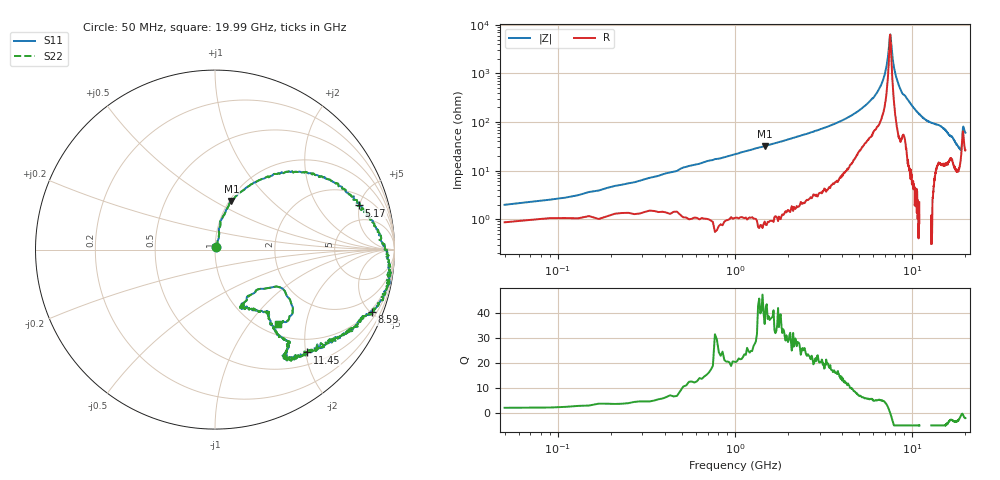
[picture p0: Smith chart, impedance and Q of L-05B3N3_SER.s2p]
! Data Taken on a HP 8720C VNA using a series-through fixture with TRL* de-embedding
#	mhz	s	ma	r	50
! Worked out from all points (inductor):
!   998 points, 50 MHz to 19.99 GHz, reference 50 ohm
!   read as one part in series: L = 3.4 nH near 170 MHz
!   highest Q = 39 at 1.47 GHz (marker M1), where L = 3.44 nH
!   self-resonance near 7.51 GHz
!   S11 on the Smith chart (normalised r, x): 50 MHz: 1.01, +0.02; 5.17 GHz: 2.96, +4.96; 8.59 GHz: 0.85, -5.05; 11.45 GHz: 0.72, -2.03; 19.99 GHz: 1.18, -1.40
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50  0.01312 70.0  0.987 -1.3  0.987 -1.3  0.01312 70.0
270  0.05242 73.2  0.9858 -3.4  0.9858 -3.4  0.05242 73.2
570  0.1175 79.2  0.9793 -7.7  0.9793 -7.7  0.1175 79.2
1470  0.2858 71.3  0.9405 -18.5  0.9405 -18.5  0.2858 71.3
3390  0.6031 45.7  0.7612 -41.1  0.7612 -41.1  0.6031 45.7
4330  0.7431 31.8  0.6219 -52.7  0.6219 -52.7  0.7431 31.8
5170  0.8403 17.0  0.4653 -63.6  0.4653 -63.6  0.8403 17.0
6090  0.9325 2.4  0.2905 -75.5  0.2905 -75.5  0.9325 2.4
6710  0.9674 -3.3  0.1616 -82.1  0.1616 -82.1  0.9674 -3.3
7150  0.9809 -7.4  0.07322 -81.8  0.07322 -81.8  0.9809 -7.4
7530  0.9801 -10.5  0.01528 -3.4  0.01528 -3.4  0.9801 -10.5
7950  0.9773 -13.9  0.08102 66.4  0.08102 66.4  0.9773 -13.9
8590  0.9394 -21.8  0.1956 63.8  0.1956 63.8  0.9394 -21.8
10030  0.8726 -32.0  0.3936 57.2  0.3936 57.2  0.8726 -32.0
11450  0.77 -48.1  0.5662 45.5  0.5662 45.5  0.77 -48.1
13350  0.6907 -55.0  0.6633 31.7  0.6633 31.7  0.6907 -55.0
16670  0.4498 -49.6  0.8106 18.4  0.8106 18.4  0.4498 -49.6
18230  0.3517 -66.8  0.8641 8.2  0.8641 8.2  0.3517 -66.8
18790  0.3363 -60.7  0.8427 1.2  0.8427 1.2  0.3363 -60.7
19110  0.3337 -41.0  0.7358 -4.9  0.7358 -4.9  0.3337 -41.0
19410  0.5275 -35.9  0.5886 7.5  0.5886 7.5  0.5275 -35.9
19990  0.5432 -49.9  0.7463 14.0  0.7463 14.0  0.5432 -49.9
